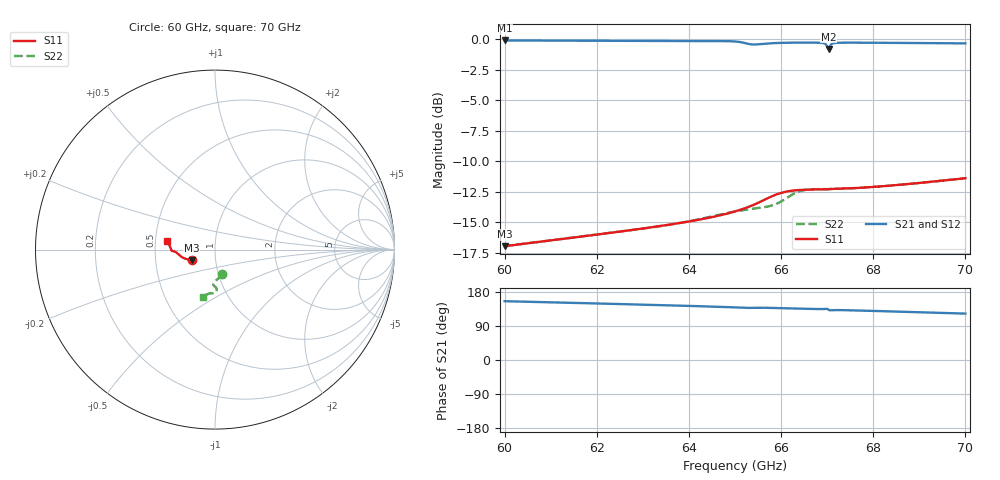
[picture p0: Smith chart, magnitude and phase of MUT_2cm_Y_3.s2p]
! TOUCHSTONE file generated by CST MICROWAVE STUDIO
! Date and time: Tue Feb 27 23:06:32 2024
! Project name: material_angular.cst
! Parameters = {Yi=3; iiii=5; exis2=5; exis=5; X=5; Z=5; Y=2}
! Header version: 2018
! Port assignment regex: !\s*Touchstone port\s*([0-9]+)\s*=\s*(CST MWS port|CST DS port)\s*([0-9]+|Zmin|Zmax)\s*\(\"(.*)\"\)(\s*mode\s*([0-9]+))?.*
! Touchstone port assignment:
! Touchstone port 1 = CST MWS port 1 ("")
! Touchstone port 2 = CST MWS port 2 ("")
# GHz S MA R 376.7
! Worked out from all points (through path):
!   1001 points, 60 GHz to 70 GHz, reference 376.7 ohm
!   highest |S21| = -0.09 dB at 60 GHz (marker M1); lowest = -0.8 dB at 67.03 GHz (marker M2)
!   group delay of S21, straight-line fit = 9.08 ps
!   lowest |S11| = -16.9 dB at 60 GHz (marker M3), VSWR 1.33, Z = 289 - j35.6 ohm
!   |S11| at or under -10 dB: start of sweep to end of sweep
!   |S22| runs from -16.9 to -11.4 dB; largest |S21 - S12| = 0
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60  0.1422 -154.8  0.9898 155.2  0.9898 155.2  0.1422 -74.7
61.67  0.1557 -158.6  0.9878 150.2  0.9878 150.2  0.1558 -81.0
63.34  0.1715 -162.6  0.9856 145.0  0.9856 145.0  0.1714 -87.7
64.5  0.187 -166.6  0.9846 140.9  0.9846 140.9  0.1883 -92.2
65  0.1972 -170.1  0.9804 138.7  0.9804 138.7  0.1972 -92.6
65.17  0.2019 -171.8  0.9703 137.8  0.9703 137.8  0.1997 -92.3
65.32  0.2068 -173.5  0.9559 137.6  0.9559 137.6  0.2015 -91.9
65.53  0.2152 -175.6  0.9558 138.0  0.9558 138.0  0.2039 -90.9
65.8  0.2276 -177.5  0.9645 137.5  0.9645 137.5  0.2087 -89.1
66.01  0.2352 -178.0  0.9677 136.8  0.9677 136.8  0.2171 -87.7
66.36  0.2413 -178.2  0.9699 135.6  0.9699 135.6  0.2371 -89.2
66.67  0.2426 -178.7  0.9701 134.7  0.9701 134.7  0.2431 -92.4
66.85  0.243 -179.1  0.9684 134.4  0.9684 134.4  0.2436 -93.7
66.94  0.2431 -179.3  0.9621 134.6  0.9621 134.6  0.2437 -94.3
66.99  0.2431 -179.5  0.9419 135.0  0.9419 135.0  0.2436 -94.5
67.03  0.2435 -179.7  0.9127 132.8  0.9127 132.8  0.2434 -94.8
67.07  0.2438 -179.7  0.9457 131.2  0.9457 131.2  0.2437 -95.0
67.1  0.2439 -179.8  0.9583 131.4  0.9583 131.4  0.2439 -95.2
67.14  0.244 -179.9  0.9645 131.7  0.9645 131.7  0.244 -95.4
67.41  0.2449 179.3  0.9694 131.4  0.9694 131.4  0.2449 -96.4
68.34  0.2514 176.1  0.9679 128.3  0.9679 128.3  0.2514 -99.5
70  0.2699 169.3  0.9629 122.4  0.9629 122.4  0.2699 -104.4
